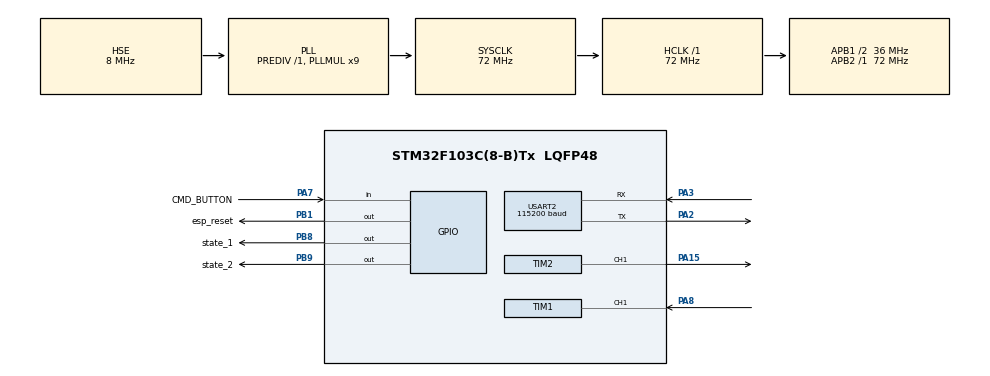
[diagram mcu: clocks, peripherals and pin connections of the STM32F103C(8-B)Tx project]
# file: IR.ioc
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Dma.Request0=USART2_RX
Dma.USART2_RX.0.Direction=DMA_PERIPH_TO_MEMORY
Dma.USART2_RX.0.Instance=DMA1_Channel6
Dma.USART2_RX.0.MemDataAlignment=DMA_MDATAALIGN_BYTE
Dma.USART2_RX.0.MemInc=DMA_MINC_ENABLE
Dma.USART2_RX.0.Mode=DMA_CIRCULAR
Dma.USART2_RX.0.PeriphDataAlignment=DMA_PDATAALIGN_BYTE
Dma.USART2_RX.0.PeriphInc=DMA_PINC_DISABLE
Dma.USART2_RX.0.Priority=DMA_PRIORITY_VERY_HIGH
FREERTOS.Tasks01=defaultTask,0,128,StartDefaultTask,Default,NULL,Dynamic,NULL,NULL
FREERTOS.configTIMER_TASK_PRIORITY=6
FREERTOS.configTIMER_TASK_STACK_DEPTH=128
FREERTOS.configTOTAL_HEAP_SIZE=6072
FREERTOS.configUSE_TIMERS=1
Mcu.Family=STM32F1
Mcu.Name=STM32F103C(8-B)Tx
Mcu.Package=LQFP48
NVIC.DMA1_Channel6_IRQn=true\:5\:0\:false\:false\:true\:true\:false
NVIC.PriorityGroup=NVIC_PRIORITYGROUP_4
NVIC.TIM1_CC_IRQn=true\:5\:0\:true\:false\:true\:true\:true
NVIC.TIM2_IRQn=true\:5\:0\:true\:false\:true\:true\:true
NVIC.TIM3_IRQn=true\:5\:0\:true\:false\:true\:true\:true
NVIC.TIM4_IRQn=true\:0\:0\:false\:false\:true\:false\:false
NVIC.TimeBase=TIM4_IRQn
NVIC.TimeBaseIP=TIM4
NVIC.USART2_IRQn=true\:5\:0\:true\:false\:true\:true\:true
PA13.Mode=Serial_Wire
PA13.Signal=SYS_JTMS-SWDIO
PA14.Mode=Serial_Wire
PA14.Signal=SYS_JTCK-SWCLK
PA15.Signal=S_TIM2_CH1_ETR
PA2.Mode=Asynchronous
PA2.Signal=USART2_TX
PA3.Mode=Asynchronous
PA3.Signal=USART2_RX
PA7.GPIO_Label=CMD_BUTTON
PA7.Signal=GPIO_Input
PA8.Signal=S_TIM1_CH1
PB1.GPIO_Label=esp_reset
PB1.PinState=GPIO_PIN_SET
PB1.Signal=GPIO_Output
PB8.GPIO_Label=state_1
PB8.Signal=GPIO_Output
PB9.GPIO_Label=state_2
PB9.Signal=GPIO_Output
PD0-OSC_IN.Mode=HSE-External-Oscillator
PD0-OSC_IN.Signal=RCC_OSC_IN
PD1-OSC_OUT.Mode=HSE-External-Oscillator
PD1-OSC_OUT.Signal=RCC_OSC_OUT
ProjectManager.HeapSize=0x200
ProjectManager.StackSize=0x400
ProjectManager.TargetToolchain=MDK-ARM V5
RCC.AHBFreq_Value=72000000
RCC.APB1CLKDivider=RCC_HCLK_DIV2
RCC.APB1Freq_Value=36000000
RCC.APB1TimFreq_Value=72000000
RCC.APB2Freq_Value=72000000
RCC.APB2TimFreq_Value=72000000
RCC.HCLKFreq_Value=72000000
RCC.PLLMUL=RCC_PLL_MUL9
RCC.PLLSourceVirtual=RCC_PLLSOURCE_HSE
RCC.SYSCLKFreq_VALUE=72000000
RCC.SYSCLKSource=RCC_SYSCLKSOURCE_PLLCLK
RCC.USBFreq_Value=72000000
SH.S_TIM1_CH1.0=TIM1_CH1,PWM_Input_1
SH.S_TIM2_CH1_ETR.0=TIM2_CH1,PWM Generation1 CH1
TIM1.AutoReloadPreload=TIM_AUTORELOAD_PRELOAD_DISABLE
TIM1.ICFilter_1=0
TIM1.ICFilter_2=0
TIM1.ICPolarity_1=TIM_INPUTCHANNELPOLARITY_FALLING
TIM1.Period=65535
TIM1.Prescaler=99
TIM1.TIM_MasterOutputTrigger=TIM_TRGO_ENABLE
TIM1.TIM_MasterSlaveMode=TIM_MASTERSLAVEMODE_DISABLE
TIM2.Channel-PWM\ Generation1\ CH1=TIM_CHANNEL_1
TIM2.Period=1892
TIM2.Prescaler=0
TIM2.Pulse-PWM\ Generation1\ CH1=946
TIM3.AutoReloadPreload=TIM_AUTORELOAD_PRELOAD_ENABLE
TIM3.Channel-Output\ Compare1\ No\ Output=TIM_CHANNEL_1
TIM3.Period=65535
TIM3.Prescaler=99
USART2.BaudRate=115200
USART2.Parity=PARITY_NONE
USART2.VirtualMode=VM_ASYNC
VP_FREERTOS_VS_ENABLE.Mode=Enabled
VP_SYS_VS_tim4.Mode=TIM4
VP_TIM1_VS_ClockSourceINT.Mode=Internal
VP_TIM2_VS_ClockSourceINT.Mode=Internal
VP_TIM3_VS_ClockSourceINT.Mode=Internal
VP_TIM3_VS_no_output1.Mode=Output Compare1 No Output
board=custom

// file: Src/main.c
/**
  ******************************************************************************
  * @file           : main.c
  * @brief          : Main program body
  ******************************************************************************
  * This notice applies to any and all portions of this file
  * that are not between comment pairs USER CODE BEGIN and
  * USER CODE END. Other portions of this file, whether
  * inserted by the user or by software development tools
  * are owned by their respective copyright owners.
  *
  * Copyright (c) 2019 STMicroelectronics International N.V.
  * All rights reserved.
  *
  * Redistribution and use in source and binary forms, with or without
  * modification, are permitted, provided that the following conditions are met:
  *
  * 1. Redistribution of source code must retain the above copyright notice,
  *    this list of conditions and the following disclaimer.
  * 2. Redistributions in binary form must reproduce the above copyright notice,
  *    this list of conditions and the following disclaimer in the documentation
  *    and/or other materials provided with the distribution.
  * 3. Neither the name of STMicroelectronics nor the names of other
  *    contributors to this software may be used to endorse or promote products
  *    derived from this software without specific written permission.
  * 4. This software, including modifications and/or derivative works of this
  *    software, must execute solely and exclusively on microcontroller or
  *    microprocessor devices manufactured by or for STMicroelectronics.
  * 5. Redistribution and use of this software other than as permitted under
  *    this license is void and will automatically terminate your rights under
  *    this license.
  *
  * THIS SOFTWARE IS PROVIDED BY STMICROELECTRONICS AND CONTRIBUTORS "AS IS"
  * AND ANY EXPRESS, IMPLIED OR STATUTORY WARRANTIES, INCLUDING, BUT NOT
  * LIMITED TO, THE IMPLIED WARRANTIES OF MERCHANTABILITY, FITNESS FOR A
  * PARTICULAR PURPOSE AND NON-INFRINGEMENT OF THIRD PARTY INTELLECTUAL PROPERTY
  * RIGHTS ARE DISCLAIMED TO THE FULLEST EXTENT PERMITTED BY LAW. IN NO EVENT
  * SHALL STMICROELECTRONICS OR CONTRIBUTORS BE LIABLE FOR ANY DIRECT, INDIRECT,
  * INCIDENTAL, SPECIAL, EXEMPLARY, OR CONSEQUENTIAL DAMAGES (INCLUDING, BUT NOT
  * LIMITED TO, PROCUREMENT OF SUBSTITUTE GOODS OR SERVICES; LOSS OF USE, DATA,
  * OR PROFITS; OR BUSINESS INTERRUPTION) HOWEVER CAUSED AND ON ANY THEORY OF
  * LIABILITY, WHETHER IN CONTRACT, STRICT LIABILITY, OR TORT (INCLUDING
  * NEGLIGENCE OR OTHERWISE) ARISING IN ANY WAY OUT OF THE USE OF THIS SOFTWARE,
  * EVEN IF ADVISED OF THE POSSIBILITY OF SUCH DAMAGE.
  *
  ******************************************************************************
  */
#include "main.h"
#include "stm32f1xx_hal.h"
#include "cmsis_os.h"
#include "dma.h"
#include "tim.h"
#include "usart.h"
#include "gpio.h"

/* USER CODE BEGIN Includes */
#include "string.h"
#include "stdlib.h"
#include <stdio.h>

#include "IR.h"
#include "ROM.h"

/* USER CODE END Includes */

/* USER CODE BEGIN PV */
/* Private variables ---------------------------------------------------------*/
//_______________________param_related_to_ :Learn
uint16_t index_IR=0;	//Index of BUffer IR
int32_t S_LED;			//signal related to LED blinking ,when Reciving the packet
uint8_t packet_overflow_flag = 0;

//_______________________param_related_to_transmit_IR
IR_PacketTypeDef									packet1[1]; //Packet Type to transmit
IR_Transmitter_HandleTypeDef 			irth;		//IR Handler

//_______________________param_related_to_Uart
char t_str[60]; //buffer for transmit UART
uint8_t data_u1[1] ;	//reg for recive from USART1
uint8_t data_u2[1] ;	//reg for recive from USART2
int TimeOut_Recive =200;
USART_PacketTypeDef BUF; 		//bufer for collecting Data

const int serial_buffer_size = 512;
char serial_read_buffer[serial_buffer_size];
uint16_t read_ptr = 0;
uint16_t write_ptr = 0;

uint8_t  start_Recive=0;					//flag for mak frame
uint32_t index_URAT=0;		//index for data_u

int32_t S_R_U1=0; //signal control task

int32_t S_R_U2=0;	//signal UART 2

char buffer[10],*token; //parsing buffer
int Buffer;							//decimaler
int l=0;								//index of parser
int esp_alive_flag = 0;

osThreadId mainTaskHandle;
osThreadId ControlTaskHandle;
osThreadId serialTaskHandle;
osThreadId esp_watcherHandle;
osTimerId myTimer01Handle;

/* USER CODE END PV */

void SystemClock_Config(void);
void MX_FREERTOS_Init(void);

/* USER CODE BEGIN PFP */
/* Private function prototypes -----------------------------------------------*/
void ATR_IR_Recive(void);
void CorrectInputData(void);

void mainTask(void const * argument);
void Control_task(void const * argument);
void serial_task(void const * argument);
void esp_watcher_task(void const * argument);
void CallbackTIMERRTOS(void const * argument);
/* USER CODE END PFP */

int main(void)
{

  /* MCU Configuration----------------------------------------------------------*/

  /* Reset of all peripherals, Initializes the Flash interface and the Systick. */
  HAL_Init();

  /* Configure the system clock */
  SystemClock_Config();

  /* Initialize all configured peripherals */
  MX_GPIO_Init();
  MX_DMA_Init();
  MX_TIM1_Init();
  MX_TIM2_Init();
  MX_TIM3_Init();
  MX_USART2_UART_Init();
  /* USER CODE BEGIN 2 */

	/*	IR_P Initializations 'BEGIN'	*/

		packet1->len = 0;
		packet1->packet_len_max = 512;

	/*	IR_P Initializations 'END'	*/

	/*	IR_T Initializations 'BEGIN'	*/
	irth.htim_BMkr = &htim2;
	irth.BMkr_channel = TIM_CHANNEL_1;
	irth.htim_Cntrllr = &htim3;
	irth.Cntrllr_channel = TIM_CHANNEL_1;

	/*	IR_T Initializations 'END'	*/

  /* Create the timer(s) */
  /* definition and creation of myTimer01 */
  osTimerDef(myTimer01, CallbackTIMERRTOS);
  myTimer01Handle = osTimerCreate(osTimer(myTimer01), osTimerPeriodic, NULL);

/* Create the thread(s) */
  /* definition and creation of defaultTask */
  osThreadDef(_mainTask, mainTask, osPriorityNormal, 0, 128);
  mainTaskHandle = osThreadCreate(osThread(_mainTask), NULL);

/* definition and creation of ControlTask */
  osThreadDef(ControlTask, Control_task, osPriorityNormal, 0, 128);
  ControlTaskHandle = osThreadCreate(osThread(ControlTask), NULL);

	osThreadDef(SerialTask, serial_task, osPriorityHigh, 0, 128);
  serialTaskHandle = osThreadCreate(osThread(SerialTask), NULL);

	osThreadDef(esp_watcher_Task, esp_watcher_task, osPriorityNormal, 0, 128);
  esp_watcherHandle = osThreadCreate(osThread(esp_watcher_Task), NULL);

  /* USER CODE END 2 */

  /* Call init function for freertos objects (in freertos.c) */
  MX_FREERTOS_Init();

  /* Start scheduler */
  osKernelStart();

  /* We should never get here as control is now taken by the scheduler */

  /* Infinite loop */
  while (1)
  {

  }

}

void SystemClock_Config(void)
{

  RCC_OscInitTypeDef RCC_OscInitStruct;
  RCC_ClkInitTypeDef RCC_ClkInitStruct;

    /**Initializes the CPU, AHB and APB busses clocks
    */
  RCC_OscInitStruct.OscillatorType = RCC_OSCILLATORTYPE_HSE;
  RCC_OscInitStruct.HSEState = RCC_HSE_ON;
  RCC_OscInitStruct.HSEPredivValue = RCC_HSE_PREDIV_DIV1;
  RCC_OscInitStruct.HSIState = RCC_HSI_ON;
  RCC_OscInitStruct.PLL.PLLState = RCC_PLL_ON;
  RCC_OscInitStruct.PLL.PLLSource = RCC_PLLSOURCE_HSE;
  RCC_OscInitStruct.PLL.PLLMUL = RCC_PLL_MUL9;
  if (HAL_RCC_OscConfig(&RCC_OscInitStruct) != HAL_OK)
  {
    _Error_Handler(__FILE__, __LINE__);
  }

    /**Initializes the CPU, AHB and APB busses clocks
    */
  RCC_ClkInitStruct.ClockType = RCC_CLOCKTYPE_HCLK|RCC_CLOCKTYPE_SYSCLK
                              |RCC_CLOCKTYPE_PCLK1|RCC_CLOCKTYPE_PCLK2;
  RCC_ClkInitStruct.SYSCLKSource = RCC_SYSCLKSOURCE_PLLCLK;
  RCC_ClkInitStruct.AHBCLKDivider = RCC_SYSCLK_DIV1;
  RCC_ClkInitStruct.APB1CLKDivider = RCC_HCLK_DIV2;
  RCC_ClkInitStruct.APB2CLKDivider = RCC_HCLK_DIV1;

  if (HAL_RCC_ClockConfig(&RCC_ClkInitStruct, FLASH_LATENCY_2) != HAL_OK)
  {
    _Error_Handler(__FILE__, __LINE__);
  }

    /**Configure the Systick interrupt time
    */
  HAL_SYSTICK_Config(HAL_RCC_GetHCLKFreq()/1000);

    /**Configure the Systick
    */
  HAL_SYSTICK_CLKSourceConfig(SYSTICK_CLKSOURCE_HCLK);

  /* SysTick_IRQn interrupt configuration */
  HAL_NVIC_SetPriority(SysTick_IRQn, 15, 0);
}

/* USER CODE BEGIN 4 */

void mainTask(void const * argument)
{
	S_LED = LED_SERVER_D;
	BUF.packet_len_max=512;
	packet1->packet_len_max=512;
	osDelay(500);
	HAL_UART_Receive_IT(&huart2,data_u2,1);
	HAL_UART_Transmit(&huart2,(unsigned char*)"starting...\n",12,100);
  for(;;){
		osEvent result=osSignalWait(S_R_U2,20000);
		if(result.status == osEventSignal){
			if(strcmp(BUF.pckt,"reset") == 0)
			{
				HAL_UART_Transmit(&huart2,(unsigned char*)"reseok",7,100);
				NVIC_SystemReset();
			}
			else
			{
				switch (BUF.pckt[0])
				{
					//___________________Transmiting IR packet from ROM
					case 't':
						sscanf(BUF.pckt,"%*c,%d",&Buffer);
							if(Buffer<128&&Buffer>30){
								load_packet(Buffer, packet1->pckt);
								packet1->len= ROM_read_HWORD( Buffer , 0 );
								if(packet1->len > 511)
								{
									packet1->len = 511;
								}
								S_LED=LED_TRANSMIT;
								ATR_IR_Transmit( &irth, packet1,0);
								sprintf(t_str, "@d,%d.",packet1->len);
								HAL_UART_Transmit(&huart2,(unsigned char*)t_str,strlen(t_str),100);
	//							for(int j=0;j<packet1->len;j++)
	//							{
	//								if (j==packet1->len-1)
	//									{
	//										sprintf(t_str, "%d.",packet1->pckt[j]);
	//										HAL_UART_Transmit(&huart2,(unsigned char*)t_str,strlen(t_str),100);
	//									}
	//									else
	//									{
	//										sprintf(t_str, "%d,",packet1->pckt[j]);
	//										HAL_UART_Transmit(&huart2,(unsigned char*)t_str,strlen(t_str),100);
	//									}
	//							}

							}
							else
							{
								HAL_UART_Transmit(&huart2,(unsigned char*)"@e:1." ,5,100);
							}
							osDelay(250);
					break;
					//___________________Reciving IR packet from ROM
					case 'r':
						sscanf(BUF.pckt,"%*c,%d",&Buffer);
						if(Buffer<128&&Buffer>30)
						{
							S_LED = LED_LEARN_MODE;
							ATR_IR_Recive();// takes 20 seconds
							S_LED = LED_STOP;
							CorrectInputData();
							osDelay(400);
							if(packet1->len > 0 && packet1->len < 512)
							{
								save_packet( Buffer,packet1->pckt ,packet1->len );
								//transmit packet which recived to ESP
								sprintf(t_str, "@d,%d.",packet1->len);
								HAL_UART_Transmit(&huart2,(unsigned char*)t_str,strlen(t_str),100);
	//							for(int j=0;j<packet1->len+1;j++) // save packet puts len at fist so +1 is to show all packet
	//							{
	//								if (j==packet1->len)
	//									{
	//										sprintf(t_str, "%d.",packet1->pckt[j]);
	//										HAL_UART_Transmit(&huart2,(unsigned char*)t_str,strlen(t_str),100);
	//									}
	//									else
	//									{
	//										sprintf(t_str, "%d,",packet1->pckt[j]);
	//										HAL_UART_Transmit(&huart2,(unsigned char*)t_str,strlen(t_str),100);
	//									}
	//							}
							}
							else
							{
								if(packet_overflow_flag == 0)
								{
									sprintf(t_str, "@e:0.");
									HAL_UART_Transmit(&huart2,(unsigned char*)t_str,strlen(t_str),100);
								}
								else if(packet_overflow_flag == 1)
								{
									packet_overflow_flag = 0;
									sprintf(t_str, "@e:512.");
									HAL_UART_Transmit(&huart2,(unsigned char*)t_str ,strlen(t_str),100);
								}
							}
						}
						else
						{
							HAL_UART_Transmit(&huart2,(unsigned char*)"@e:1." ,5,100);
						}
					break;
					//Recive pacet from ESP and transmit it
					case 'd':
						token = strtok(BUF.pckt, ",");
						while( token != NULL ) {
							sscanf(token,"%d",&Buffer);
							packet1->pckt[l]=Buffer;
							l++;
							token = strtok(NULL, ",");
							}
						packet1->len=l;
						l=0;
						for(int k=0;k<packet1->len;k++)						//remove the firs one
							packet1->pckt[k]=packet1->pckt[k+1];
						packet1->len--;

							S_LED=LED_TRANSMIT;
							ATR_IR_Transmit( &irth, packet1,0);
							HAL_Delay(400);

					break;
					case 'c':
						sscanf(BUF.pckt,"%*c,%d",&Buffer);
						switch (Buffer){
							case 0:
								//disconnected from server
							S_LED=LED_SERVER_D;

							break;
							case 1:
								//connected to server
								if(S_LED != LED_IDLE)
								{
									S_LED=LED_SERVER_C;
									osSignalSet(ControlTaskHandle,S_R_U1);
								}
							break;
							case 2:
								if(S_LED != LED_LOCAL_IDLE)
								{
									S_LED=LED_LOCAL_C;
									osSignalSet(ControlTaskHandle,S_R_U1);
								}
							break;
							case 3:
								S_LED=LED_HOTSPOT_C;
								osSignalSet(ControlTaskHandle,S_R_U1);
							break;
							default:
								break;
						}
						osDelay(250);
					break;

					default:
						sprintf(t_str, "@e:3.");
						HAL_UART_Transmit(&huart2,(unsigned char*)t_str ,strlen(t_str),100);
					break;
				}
			}
		}
		osDelay(10);
	}
}

void Control_task(void const * argument)
{
  /* Infinite loop */
	uint8_t local_state_flag = 0;
  for(;;)
  {
		switch (S_LED){
    	case	LED_SERVER_D :
				HAL_GPIO_WritePin(state_1_GPIO_Port, state_1_Pin, GPIO_PIN_SET);
				HAL_GPIO_WritePin(state_2_GPIO_Port, state_2_Pin, GPIO_PIN_RESET);
			break;
			case	LED_HOTSPOT_C :
					HAL_GPIO_WritePin(state_2_GPIO_Port, state_2_Pin, GPIO_PIN_SET);
					HAL_GPIO_WritePin(state_1_GPIO_Port, state_1_Pin, GPIO_PIN_RESET);
					osDelay(1000);
					HAL_GPIO_WritePin(state_1_GPIO_Port, state_1_Pin, GPIO_PIN_SET);
					HAL_GPIO_WritePin(state_2_GPIO_Port, state_2_Pin, GPIO_PIN_RESET);
					osDelay(1000);
			break;
    	case	LED_SERVER_C :
				HAL_GPIO_WritePin(state_1_GPIO_Port, state_1_Pin, GPIO_PIN_RESET);
				for(int i=0;i<4;i++){
					HAL_GPIO_WritePin(state_2_GPIO_Port, state_2_Pin, GPIO_PIN_SET);
					osDelay(100);
					HAL_GPIO_WritePin(state_2_GPIO_Port, state_2_Pin, GPIO_PIN_RESET);
					osDelay(100);
				}
				osDelay(1000);
				local_state_flag = 0;
				S_LED=LED_IDLE;
			break;
			case	LED_LOCAL_C :
				HAL_GPIO_WritePin(state_1_GPIO_Port, state_1_Pin, GPIO_PIN_RESET);
				for(int i=0;i<4;i++){
					HAL_GPIO_WritePin(state_2_GPIO_Port, state_2_Pin, GPIO_PIN_SET);
					osDelay(100);
					HAL_GPIO_WritePin(state_2_GPIO_Port, state_2_Pin, GPIO_PIN_RESET);
					osDelay(100);
				}
				osDelay(1000);
				local_state_flag = 1;
				S_LED=LED_LOCAL_IDLE;
			break;
			case LED_LEARN_MODE:
				HAL_GPIO_WritePin(state_2_GPIO_Port, state_2_Pin, GPIO_PIN_RESET);
				HAL_GPIO_TogglePin(state_1_GPIO_Port, state_1_Pin);
				osDelay(150);
			break;
    	case LED_TRANSMIT:
				HAL_GPIO_WritePin(state_2_GPIO_Port, state_2_Pin, GPIO_PIN_RESET);
				HAL_GPIO_WritePin(state_1_GPIO_Port, state_1_Pin, GPIO_PIN_SET);
				osDelay(600);
				HAL_GPIO_WritePin(state_1_GPIO_Port, state_1_Pin, GPIO_PIN_RESET);
				osDelay(600);
				S_LED = LED_STOP;
			break;
    	case LED_STOP:
				if(local_state_flag == 1)
				{
					S_LED = LED_LOCAL_IDLE;
				}
				else
				{
					S_LED = LED_IDLE;
				}
			break;
    	case LED_IDLE:
				HAL_GPIO_WritePin(state_1_GPIO_Port, state_1_Pin, GPIO_PIN_RESET);
				HAL_GPIO_WritePin(state_2_GPIO_Port, state_2_Pin, GPIO_PIN_SET);
				osDelay(200);
				HAL_GPIO_WritePin(state_2_GPIO_Port, state_2_Pin, GPIO_PIN_RESET);
				for(int i = 0; i< 100 && S_LED == LED_IDLE ; i++)
				{
					 osDelay(50);
				}
			break;
			case LED_LOCAL_IDLE:
				HAL_GPIO_WritePin(state_2_GPIO_Port, state_2_Pin, GPIO_PIN_RESET);
				HAL_GPIO_WritePin(state_1_GPIO_Port, state_1_Pin, GPIO_PIN_SET);
				osDelay(200);
				HAL_GPIO_WritePin(state_1_GPIO_Port, state_1_Pin, GPIO_PIN_RESET);
				for(int i = 0; i< 100 && S_LED == LED_LOCAL_IDLE ; i++)
				{
					 osDelay(50);
				}
			break;
			default:
				HAL_GPIO_WritePin(state_1_GPIO_Port, state_1_Pin, GPIO_PIN_RESET);
				HAL_GPIO_WritePin(state_2_GPIO_Port, state_2_Pin, GPIO_PIN_RESET);
			break;
			}

		if(HAL_GPIO_ReadPin(CMD_BUTTON_GPIO_Port,CMD_BUTTON_Pin) == 0)
		{
			int i=0;
			for(i=0; i<10 && HAL_GPIO_ReadPin(CMD_BUTTON_GPIO_Port,CMD_BUTTON_Pin) == 0; i++)
			{
				HAL_GPIO_WritePin(state_1_GPIO_Port, state_1_Pin, GPIO_PIN_SET);
				HAL_GPIO_WritePin(state_2_GPIO_Port, state_2_Pin, GPIO_PIN_SET);
				osDelay(200);
			}
			HAL_GPIO_WritePin(state_1_GPIO_Port, state_1_Pin, GPIO_PIN_RESET);
			HAL_GPIO_WritePin(state_2_GPIO_Port, state_2_Pin, GPIO_PIN_RESET);
			if(i>=10)
			{
				osDelay(2000);
				HAL_UART_Transmit(&huart2,(unsigned char*)"@setting_reset.",15,100);
				osDelay(100);
				NVIC_SystemReset();
			}
		}
		osDelay(10);
		HAL_UART_Receive_IT(&huart2,data_u2,1);
  }
}

void serial_task(void const * argument)
{
  /* Infinite loop */

	char char_buff = 0;
  for(;;)
	{
		if(read_ptr != write_ptr)
		{
			char_buff = serial_read_buffer[read_ptr];
			if(char_buff=='@'){
				start_Recive=1;//set
				BUF.len=0;
			}

			if(start_Recive==1)
			{
				if( (char_buff!='.') && char_buff!='@' && (BUF.len<BUF.packet_len_max))
				{
					BUF.pckt[BUF.len]=char_buff;
					BUF.pckt[BUF.len + 1]=0;
					BUF.len++;
				}
				if(char_buff=='.' )
				{
					if(strcmp(BUF.pckt,"alive") == 0)
					{
						esp_alive_flag = 1;
						start_Recive=0;
					}
					else
					{
						start_Recive=0;
						osSignalSet(mainTaskHandle,S_R_U2);//set the signal of rtos set.
					}
				}
				if(BUF.len >= BUF.packet_len_max )
				{//noise
					sprintf(t_str, "@e:2.");
					HAL_UART_Transmit(&huart2,(unsigned char*)t_str ,strlen(t_str),100);
					BUF.len=0;
					start_Recive=0;
				}
			}

			if(read_ptr < serial_buffer_size - 1 )
			{
				read_ptr ++ ;
			}
			else
			{
				read_ptr = 0;
			}
		}
		osDelay(1);
	}
}

void esp_watcher_task(void const * argument)
{
	osDelay(40000);
	for(;;)
	{
		esp_alive_flag = 0;
		HAL_UART_Transmit(&huart2,(unsigned char*)"@alive.",7,100);
		osDelay(2000);
		if(esp_alive_flag == 1)
		{
			esp_alive_flag = 0;
		}
		else
		{
			HAL_GPIO_WritePin(esp_reset_GPIO_Port,esp_reset_Pin,GPIO_PIN_RESET);
			osDelay(100);
			NVIC_SystemReset();
		}

		osDelay(10000);
	}
}

void CallbackTIMERRTOS(void const * argument)
{
  osTimerStop(myTimer01Handle);
	S_LED = LED_STOP;
	HAL_TIM_IC_Stop_IT(&htim1, TIM_CHANNEL_1);
	HAL_TIM_IC_Stop_IT(&htim1, TIM_CHANNEL_2);
}

void HAL_TIM_IC_CaptureCallback(TIM_HandleTypeDef *htim){

		osTimerStart(myTimer01Handle,TimeOut_Recive);
		if(htim->Channel == HAL_TIM_ACTIVE_CHANNEL_1)
		{//cycle
			packet1->pckt[index_IR] = HAL_TIM_ReadCapturedValue(&htim1, TIM_CHANNEL_1);
			index_IR++;
		}
		if(htim->Channel == HAL_TIM_ACTIVE_CHANNEL_2)
		{//duty
			packet1->pckt[index_IR] = HAL_TIM_ReadCapturedValue(&htim1, TIM_CHANNEL_2);
			index_IR++;
		}
		if(index_IR>511)
		{
			HAL_TIM_IC_Stop_IT(&htim1, TIM_CHANNEL_1);
			HAL_TIM_IC_Stop_IT(&htim1, TIM_CHANNEL_2);
			S_LED = LED_STOP;
			index_IR=0;
			for(int i=0;i<512;i++)
			{
				packet1->pckt[i]=0;
			}
			packet_overflow_flag = 1;
		}
}

void HAL_TIM_OC_DelayElapsedCallback(TIM_HandleTypeDef *htim){
	ATR_IR_T_OC_Callback( &irth, irth.target_packet, htim );
}

void HAL_UART_RxCpltCallback(UART_HandleTypeDef *huart)
{
		serial_read_buffer[write_ptr] = *data_u2;
		if(write_ptr < serial_buffer_size - 1 )
		{
			write_ptr ++ ;
		}
		else
		{
			write_ptr = 0;
		}
		HAL_UART_Receive_IT(&huart2,data_u2,1);
}

/* USER CODE END 4 */

void HAL_TIM_PeriodElapsedCallback(TIM_HandleTypeDef *htim)
{
  if (htim->Instance == TIM4) {
    HAL_IncTick();
  }
}

void _Error_Handler(char *file, int line)
{
  while(1)
  {
  }
}

/************************ (C) COPYRIGHT STMicroelectronics *****END OF FILE****/

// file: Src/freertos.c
/* USER CODE BEGIN Header */
/**
  ******************************************************************************
  * File Name          : freertos.c
  * Description        : Code for freertos applications
  ******************************************************************************
  * This notice applies to any and all portions of this file
  * that are not between comment pairs USER CODE BEGIN and
  * USER CODE END. Other portions of this file, whether
  * inserted by the user or by software development tools
  * are owned by their respective copyright owners.
  *
  * Copyright (c) 2018 STMicroelectronics International N.V.
  * All rights reserved.
  *
  * Redistribution and use in source and binary forms, with or without
  * modification, are permitted, provided that the following conditions are met:
  *
  * 1. Redistribution of source code must retain the above copyright notice,
  *    this list of conditions and the following disclaimer.
  * 2. Redistributions in binary form must reproduce the above copyright notice,
  *    this list of conditions and the following disclaimer in the documentation
  *    and/or other materials provided with the distribution.
  * 3. Neither the name of STMicroelectronics nor the names of other
  *    contributors to this software may be used to endorse or promote products
  *    derived from this software without specific written permission.
  * 4. This software, including modifications and/or derivative works of this
  *    software, must execute solely and exclusively on microcontroller or
  *    microprocessor devices manufactured by or for STMicroelectronics.
  * 5. Redistribution and use of this software other than as permitted under
  *    this license is void and will automatically terminate your rights under
  *    this license.
  *
  * THIS SOFTWARE IS PROVIDED BY STMICROELECTRONICS AND CONTRIBUTORS "AS IS"
  * AND ANY EXPRESS, IMPLIED OR STATUTORY WARRANTIES, INCLUDING, BUT NOT
  * LIMITED TO, THE IMPLIED WARRANTIES OF MERCHANTABILITY, FITNESS FOR A
  * PARTICULAR PURPOSE AND NON-INFRINGEMENT OF THIRD PARTY INTELLECTUAL PROPERTY
  * RIGHTS ARE DISCLAIMED TO THE FULLEST EXTENT PERMITTED BY LAW. IN NO EVENT
  * SHALL STMICROELECTRONICS OR CONTRIBUTORS BE LIABLE FOR ANY DIRECT, INDIRECT,
  * INCIDENTAL, SPECIAL, EXEMPLARY, OR CONSEQUENTIAL DAMAGES (INCLUDING, BUT NOT
  * LIMITED TO, PROCUREMENT OF SUBSTITUTE GOODS OR SERVICES; LOSS OF USE, DATA,
  * OR PROFITS; OR BUSINESS INTERRUPTION) HOWEVER CAUSED AND ON ANY THEORY OF
  * LIABILITY, WHETHER IN CONTRACT, STRICT LIABILITY, OR TORT (INCLUDING
  * NEGLIGENCE OR OTHERWISE) ARISING IN ANY WAY OUT OF THE USE OF THIS SOFTWARE,
  * EVEN IF ADVISED OF THE POSSIBILITY OF SUCH DAMAGE.
  *
  ******************************************************************************
  */
/* USER CODE END Header */

#include "FreeRTOS.h"
#include "task.h"
#include "main.h"
#include "cmsis_os.h"

osThreadId defaultTaskHandle;

void StartDefaultTask(void const * argument);

void MX_FREERTOS_Init(void); /* (MISRA C 2004 rule 8.1) */

void MX_FREERTOS_Init(void) {

  /* Create the thread(s) */
  /* definition and creation of defaultTask */
  osThreadDef(defaultTask, StartDefaultTask, osPriorityNormal, 0, 128);
  defaultTaskHandle = osThreadCreate(osThread(defaultTask), NULL);

}

void StartDefaultTask(void const * argument)
{

  /* USER CODE BEGIN StartDefaultTask */
  /* Infinite loop */
  for(;;)
  {
    osDelay(1000);
  }
  /* USER CODE END StartDefaultTask */
}

/************************ (C) COPYRIGHT STMicroelectronics *****END OF FILE****/
